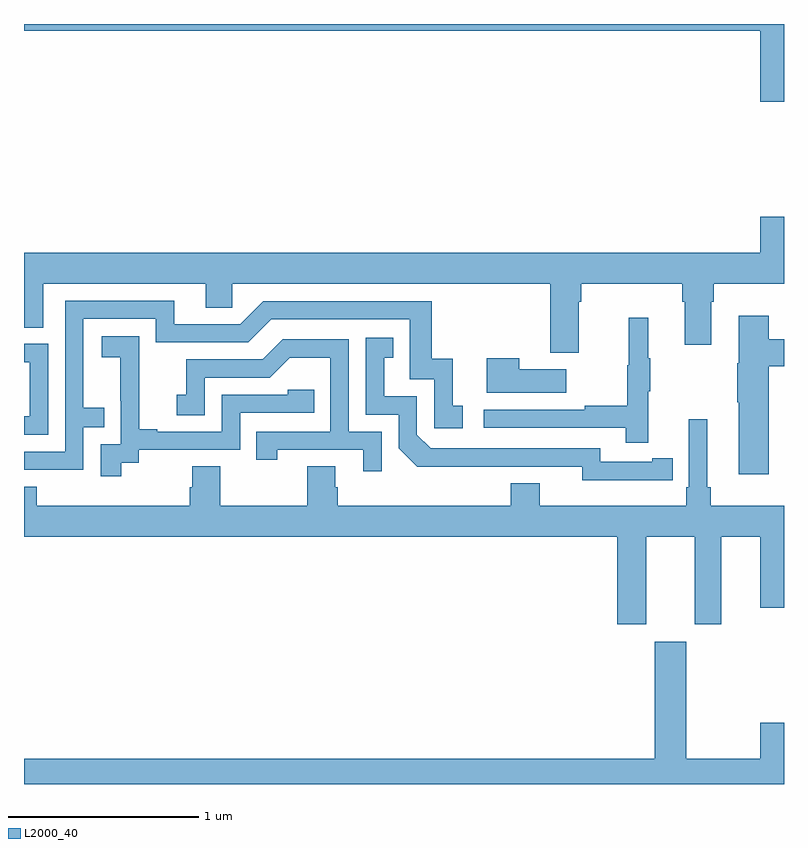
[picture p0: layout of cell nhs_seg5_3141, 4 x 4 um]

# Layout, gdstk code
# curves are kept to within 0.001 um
import gdstk
lib = gdstk.Library(unit=1e-6, precision=1e-09)
def P(c, l, *ps):  # polygons
    for p in ps: c.add(gdstk.Polygon(p, *l))
L2000_40 = (2000, 40)

nhs_seg5_3141 = lib.new_cell('nhs_seg5_3141')
P(nhs_seg5_3141, L2000_40, [(297,852.799),(293,852.799),(293,852.764),(296.876,852.764),(296.876,852.39),(297,852.39)],
  [(295.921,851.336),(295.934,851.336),(295.934,851.432),(296.465,851.432),(296.465,851.336),(296.477,851.336),(296.477,851.112),(296.617,851.112),(296.617,851.336),(296.63,851.336),(296.63,851.432),(297,851.432),(297,851.785),(296.876,851.785),(296.876,851.596),(293,851.596),(293,851.2),(293.101,851.2),(293.101,851.432),(293.957,851.432),(293.957,851.305),(294.096,851.305),(294.096,851.432),(295.769,851.432),(295.769,851.07),(295.921,851.07)],
  [(293.313,850.677),(293.423,850.677),(293.423,850.778),(293.313,850.778),(293.313,851.247),(293.694,851.247),(293.694,851.124),(294.18,851.124),(294.3,851.244),(295.029,851.244),(295.029,850.929),(295.158,850.929),(295.158,850.671),(295.309,850.671),(295.309,850.791),(295.256,850.791),(295.256,851.038),(295.145,851.038),(295.145,851.34),(294.258,851.34),(294.138,851.22),(293.791,851.22),(293.791,851.343),(293.217,851.343),(293.217,850.548),(293,850.548),(293,850.452),(293.313,850.452)],
  [(296.921,850.997),(297,850.997),(297,851.139),(296.921,851.139),(296.921,851.263),(296.762,851.263),(296.762,851.013),(296.755,851.013),(296.755,850.807),(296.762,850.807),(296.762,850.428),(296.921,850.428)],
  [(296.285,850.867),(296.296,850.867),(296.296,851.041),(296.285,851.041),(296.285,851.254),(296.182,851.254),(296.182,851.004),(296.175,851.004),(296.175,850.79),(295.951,850.79),(295.951,850.77),(295.419,850.77),(295.419,850.674),(296.167,850.674),(296.167,850.596),(296.285,850.596)],
  [(293.512,850.489),(293.604,850.489),(293.604,850.557),(294.138,850.557),(294.138,850.752),(294.527,850.752),(294.527,850.875),(294.387,850.875),(294.387,850.848),(294.042,850.848),(294.042,850.653),(293.701,850.653),(293.701,850.666),(293.606,850.666),(293.606,850.949),(293.607,850.949),(293.607,851.155),(293.409,851.155),(293.409,851.045),(293.507,851.045),(293.507,850.817),(293.508,850.817),(293.508,850.587),(293.403,850.587),(293.403,850.419),(293.512,850.419)],
  [(296.306,850.398),(296.414,850.398),(296.414,850.514),(296.306,850.514),(296.306,850.494),(296.034,850.494),(296.034,850.566),(295.14,850.566),(295.068,850.638),(295.068,850.839),(294.895,850.839),(294.895,851.043),(294.944,851.043),(294.944,851.149),(294.798,851.149),(294.798,850.743),(294.972,850.743),(294.972,850.566),(295.07,850.469),(295.938,850.47),(295.938,850.397)],
  [(294.882,850.653),(294.708,850.653),(294.708,851.139),(294.362,851.139),(294.257,851.034),(293.854,851.034),(293.854,850.849),(293.805,850.849),(293.805,850.74),(293.952,850.74),(293.952,850.938),(294.294,850.938),(294.398,851.042),(294.612,851.042),(294.612,850.653),(294.223,850.653),(294.223,850.506),(294.334,850.506),(294.334,850.557),(294.785,850.557),(294.785,850.446),(294.882,850.446)],
  [(293.127,851.115),(293,851.115),(293,851.019),(293.031,851.019),(293.031,850.734),(293,850.734),(293,850.638),(293.127,850.638)],
  [(295.855,850.981),(295.607,850.981),(295.607,851.041),(295.436,851.041),(295.436,850.859),(295.855,850.859)],
  [(296.275,850.1),(296.531,850.1),(296.531,849.639),(296.671,849.639),(296.671,850.1),(296.876,850.1),(296.876,849.726),(297,849.726),(297,850.264),(296.615,850.264),(296.615,850.36),(296.596,850.36),(296.596,850.72),(296.499,850.72),(296.499,850.36),(296.486,850.36),(296.486,850.264),(295.714,850.264),(295.714,850.381),(295.562,850.381),(295.562,850.264),(294.65,850.264),(294.65,850.362),(294.637,850.362),(294.637,850.472),(294.49,850.472),(294.49,850.264),(294.033,850.264),(294.033,850.472),(293.885,850.472),(293.885,850.362),(293.873,850.362),(293.873,850.264),(293.066,850.264),(293.066,850.363),(293,850.363),(293,850.1),(296.123,850.1),(296.123,849.639),(296.275,849.639)],
  [(297,849.121),(296.876,849.121),(296.876,848.932),(296.485,848.932),(296.485,849.547),(296.321,849.547),(296.321,848.932),(293,848.932),(293,848.799),(297,848.799)])

lib.write_gds('nhs_seg5_3141.gds')
